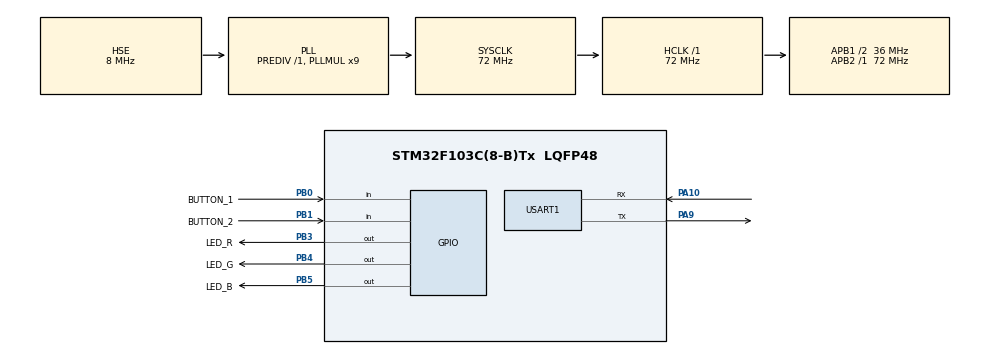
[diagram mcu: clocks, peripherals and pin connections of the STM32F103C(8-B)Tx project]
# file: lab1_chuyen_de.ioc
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Mcu.Family=STM32F1
Mcu.Name=STM32F103C(8-B)Tx
Mcu.Package=LQFP48
NVIC.PriorityGroup=NVIC_PRIORITYGROUP_4
NVIC.TIM3_IRQn=true\:0\:0\:false\:false\:true\:true\:true\:true
NVIC.TIM4_IRQn=true\:0\:0\:false\:false\:true\:true\:true\:true
NVIC.USART1_IRQn=true\:0\:0\:false\:false\:true\:true\:true\:true
PA10.Mode=Asynchronous
PA10.Signal=USART1_RX
PA13.Mode=Serial_Wire
PA13.Signal=SYS_JTMS-SWDIO
PA14.Mode=Serial_Wire
PA14.Signal=SYS_JTCK-SWCLK
PA9.Mode=Asynchronous
PA9.Signal=USART1_TX
PB0.GPIO_Label=BUTTON_1
PB0.Signal=GPIO_Input
PB1.GPIO_Label=BUTTON_2
PB1.Signal=GPIO_Input
PB3.GPIO_Label=LED_R
PB3.Signal=GPIO_Output
PB4.GPIO_Label=LED_G
PB4.Signal=GPIO_Output
PB5.GPIO_Label=LED_B
PB5.Signal=GPIO_Output
PD0-OSC_IN.Mode=HSE-External-Oscillator
PD0-OSC_IN.Signal=RCC_OSC_IN
PD1-OSC_OUT.Mode=HSE-External-Oscillator
PD1-OSC_OUT.Signal=RCC_OSC_OUT
ProjectManager.HeapSize=0x200
ProjectManager.StackSize=0x400
ProjectManager.TargetToolchain=STM32CubeIDE
RCC.AHBFreq_Value=72000000
RCC.APB1CLKDivider=RCC_HCLK_DIV2
RCC.APB1Freq_Value=36000000
RCC.APB1TimFreq_Value=72000000
RCC.APB2Freq_Value=72000000
RCC.APB2TimFreq_Value=72000000
RCC.HCLKFreq_Value=72000000
RCC.PLLMUL=RCC_PLL_MUL9
RCC.PLLSourceVirtual=RCC_PLLSOURCE_HSE
RCC.SYSCLKFreq_VALUE=72000000
RCC.SYSCLKSource=RCC_SYSCLKSOURCE_PLLCLK
RCC.USBFreq_Value=72000000
TIM3.Period=1000-1
TIM3.Prescaler=7200-1
TIM4.Period=100-1
TIM4.Prescaler=7200-1
USART1.VirtualMode=VM_ASYNC
VP_TIM3_VS_ClockSourceINT.Mode=Internal
VP_TIM4_VS_ClockSourceINT.Mode=Internal
board=custom

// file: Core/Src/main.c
/* USER CODE BEGIN Header */
/**
  ******************************************************************************
  * @file           : main.c
  * @brief          : Main program body
  ******************************************************************************
  * @attention
  *
  * Copyright (c) 2023 STMicroelectronics.
  * All rights reserved.
  *
  * This software is licensed under terms that can be found in the LICENSE file
  * in the root directory of this software component.
  * If no LICENSE file comes with this software, it is provided AS-IS.
  *
  ******************************************************************************
  */
/* USER CODE END Header */
#include "main.h"

/* USER CODE BEGIN Includes */
#include "stdio.h"
/* USER CODE END Includes */

/* USER CODE BEGIN PD */
#define DEF_TIMER_MS 10
#define TIMER_FOR_LED htim3
#define TIMER_FOR_BUTTON htim4
#define SCAN_PERIOD 10 //10ms
/* USER CODE END PD */

TIM_HandleTypeDef htim3;
TIM_HandleTypeDef htim4;

UART_HandleTypeDef huart1;

void SystemClock_Config(void);
static void MX_GPIO_Init(void);
static void MX_TIM3_Init(void);
static void MX_TIM4_Init(void);
static void MX_USART1_UART_Init(void);

/* USER CODE BEGIN 0 */
void display();
/* USER CODE END 0 */

int main(void)
{

  /* MCU Configuration--------------------------------------------------------*/

  /* Reset of all peripherals, Initializes the Flash interface and the Systick. */
  HAL_Init();

  /* Configure the system clock */
  SystemClock_Config();

  /* Initialize all configured peripherals */
  MX_GPIO_Init();
  MX_TIM3_Init();
  MX_TIM4_Init();
  MX_USART1_UART_Init();
  /* USER CODE BEGIN 2 */
  HAL_TIM_Base_Start_IT(&TIMER_FOR_LED);
  HAL_TIM_Base_Start_IT(&TIMER_FOR_BUTTON);
  display();
  /* USER CODE END 2 */

  /* Infinite loop */
  /* USER CODE BEGIN WHILE */
  //GPIO_PinState state;
  while (1)
  {

    /* USER CODE END WHILE */

  }
}

void SystemClock_Config(void)
{
  RCC_OscInitTypeDef RCC_OscInitStruct = {0};
  RCC_ClkInitTypeDef RCC_ClkInitStruct = {0};

  /** Initializes the RCC Oscillators according to the specified parameters
  * in the RCC_OscInitTypeDef structure.
  */
  RCC_OscInitStruct.OscillatorType = RCC_OSCILLATORTYPE_HSE;
  RCC_OscInitStruct.HSEState = RCC_HSE_ON;
  RCC_OscInitStruct.HSEPredivValue = RCC_HSE_PREDIV_DIV1;
  RCC_OscInitStruct.HSIState = RCC_HSI_ON;
  RCC_OscInitStruct.PLL.PLLState = RCC_PLL_ON;
  RCC_OscInitStruct.PLL.PLLSource = RCC_PLLSOURCE_HSE;
  RCC_OscInitStruct.PLL.PLLMUL = RCC_PLL_MUL9;
  if (HAL_RCC_OscConfig(&RCC_OscInitStruct) != HAL_OK)
  {
    Error_Handler();
  }

  /** Initializes the CPU, AHB and APB buses clocks
  */
  RCC_ClkInitStruct.ClockType = RCC_CLOCKTYPE_HCLK|RCC_CLOCKTYPE_SYSCLK
                              |RCC_CLOCKTYPE_PCLK1|RCC_CLOCKTYPE_PCLK2;
  RCC_ClkInitStruct.SYSCLKSource = RCC_SYSCLKSOURCE_PLLCLK;
  RCC_ClkInitStruct.AHBCLKDivider = RCC_SYSCLK_DIV1;
  RCC_ClkInitStruct.APB1CLKDivider = RCC_HCLK_DIV2;
  RCC_ClkInitStruct.APB2CLKDivider = RCC_HCLK_DIV1;

  if (HAL_RCC_ClockConfig(&RCC_ClkInitStruct, FLASH_LATENCY_2) != HAL_OK)
  {
    Error_Handler();
  }
}

static void MX_TIM3_Init(void)
{

  TIM_ClockConfigTypeDef sClockSourceConfig = {0};
  TIM_MasterConfigTypeDef sMasterConfig = {0};

  htim3.Instance = TIM3;
  htim3.Init.Prescaler = 7200-1;
  htim3.Init.CounterMode = TIM_COUNTERMODE_UP;
  htim3.Init.Period = 1000-1;
  htim3.Init.ClockDivision = TIM_CLOCKDIVISION_DIV1;
  htim3.Init.AutoReloadPreload = TIM_AUTORELOAD_PRELOAD_DISABLE;
  if (HAL_TIM_Base_Init(&htim3) != HAL_OK)
  {
    Error_Handler();
  }
  sClockSourceConfig.ClockSource = TIM_CLOCKSOURCE_INTERNAL;
  if (HAL_TIM_ConfigClockSource(&htim3, &sClockSourceConfig) != HAL_OK)
  {
    Error_Handler();
  }
  sMasterConfig.MasterOutputTrigger = TIM_TRGO_RESET;
  sMasterConfig.MasterSlaveMode = TIM_MASTERSLAVEMODE_DISABLE;
  if (HAL_TIMEx_MasterConfigSynchronization(&htim3, &sMasterConfig) != HAL_OK)
  {
    Error_Handler();
  }

}

static void MX_TIM4_Init(void)
{

  TIM_ClockConfigTypeDef sClockSourceConfig = {0};
  TIM_MasterConfigTypeDef sMasterConfig = {0};

  htim4.Instance = TIM4;
  htim4.Init.Prescaler = 7200-1;
  htim4.Init.CounterMode = TIM_COUNTERMODE_UP;
  htim4.Init.Period = 100-1;
  htim4.Init.ClockDivision = TIM_CLOCKDIVISION_DIV1;
  htim4.Init.AutoReloadPreload = TIM_AUTORELOAD_PRELOAD_DISABLE;
  if (HAL_TIM_Base_Init(&htim4) != HAL_OK)
  {
    Error_Handler();
  }
  sClockSourceConfig.ClockSource = TIM_CLOCKSOURCE_INTERNAL;
  if (HAL_TIM_ConfigClockSource(&htim4, &sClockSourceConfig) != HAL_OK)
  {
    Error_Handler();
  }
  sMasterConfig.MasterOutputTrigger = TIM_TRGO_RESET;
  sMasterConfig.MasterSlaveMode = TIM_MASTERSLAVEMODE_DISABLE;
  if (HAL_TIMEx_MasterConfigSynchronization(&htim4, &sMasterConfig) != HAL_OK)
  {
    Error_Handler();
  }

}

static void MX_USART1_UART_Init(void)
{

  huart1.Instance = USART1;
  huart1.Init.BaudRate = 115200;
  huart1.Init.WordLength = UART_WORDLENGTH_8B;
  huart1.Init.StopBits = UART_STOPBITS_1;
  huart1.Init.Parity = UART_PARITY_NONE;
  huart1.Init.Mode = UART_MODE_TX_RX;
  huart1.Init.HwFlowCtl = UART_HWCONTROL_NONE;
  huart1.Init.OverSampling = UART_OVERSAMPLING_16;
  if (HAL_UART_Init(&huart1) != HAL_OK)
  {
    Error_Handler();
  }

}

static void MX_GPIO_Init(void)
{
  GPIO_InitTypeDef GPIO_InitStruct = {0};

  /* GPIO Ports Clock Enable */
  __HAL_RCC_GPIOD_CLK_ENABLE();
  __HAL_RCC_GPIOB_CLK_ENABLE();
  __HAL_RCC_GPIOA_CLK_ENABLE();

  /*Configure GPIO pin Output Level */
  HAL_GPIO_WritePin(GPIOB, LED_R_Pin|LED_G_Pin|LED_B_Pin, GPIO_PIN_RESET);

  /*Configure GPIO pins : BUTTON_1_Pin BUTTON_2_Pin */
  GPIO_InitStruct.Pin = BUTTON_1_Pin|BUTTON_2_Pin;
  GPIO_InitStruct.Mode = GPIO_MODE_INPUT;
  GPIO_InitStruct.Pull = GPIO_NOPULL;
  HAL_GPIO_Init(GPIOB, &GPIO_InitStruct);

  /*Configure GPIO pins : LED_R_Pin LED_G_Pin LED_B_Pin */
  GPIO_InitStruct.Pin = LED_R_Pin|LED_G_Pin|LED_B_Pin;
  GPIO_InitStruct.Mode = GPIO_MODE_OUTPUT_PP;
  GPIO_InitStruct.Pull = GPIO_NOPULL;
  GPIO_InitStruct.Speed = GPIO_SPEED_FREQ_LOW;
  HAL_GPIO_Init(GPIOB, &GPIO_InitStruct);

}

/* USER CODE BEGIN 4 */

int effectPhase = 0;
int selectedtEffect = 0;

void effect1() {
	HAL_GPIO_TogglePin(LED_R_GPIO_Port, LED_R_Pin);
	HAL_GPIO_TogglePin(LED_G_GPIO_Port, LED_G_Pin);
	HAL_GPIO_TogglePin(LED_B_GPIO_Port, LED_B_Pin);
}

void effect2(int effectPhase) {
	int temp = effectPhase % 3;
	if(temp == 0)
		HAL_GPIO_TogglePin(LED_R_GPIO_Port, LED_R_Pin);
	else if(temp == 1)
		HAL_GPIO_TogglePin(LED_G_GPIO_Port, LED_G_Pin);
	else
		HAL_GPIO_TogglePin(LED_B_GPIO_Port, LED_B_Pin);
}

void effect3(int effectPhase) {
	int temp = effectPhase / 4;
	if(temp == 0)
		HAL_GPIO_TogglePin(LED_R_GPIO_Port, LED_R_Pin);
	else if(temp == 1)
		HAL_GPIO_TogglePin(LED_G_GPIO_Port, LED_G_Pin);
	else
		HAL_GPIO_TogglePin(LED_B_GPIO_Port, LED_B_Pin);
}

void turnOnAllLeds() {
	// set pin to 0 for turning the led on. check schematic.
	HAL_GPIO_WritePin(LED_R_GPIO_Port, LED_R_Pin, GPIO_PIN_RESET);
	HAL_GPIO_WritePin(LED_G_GPIO_Port, LED_G_Pin, GPIO_PIN_RESET);
	HAL_GPIO_WritePin(LED_B_GPIO_Port, LED_B_Pin, GPIO_PIN_RESET);
}

void toggleLeds() {
	// this function is called every 100ms

	// Check which effect is being used and execute it.
	if(selectedtEffect == 0)
		effect1();
	else if(selectedtEffect == 1)
		effect2(effectPhase);
	else
		effect3(effectPhase);

	// update effectPhase
	effectPhase = (effectPhase + 1) % 12; // there are 9 phase, 0 -> 8.
}

void display() {
	char buffer[15];
	int period = (TIMER_FOR_LED.Instance->ARR + 1) / DEF_TIMER_MS;
	sprintf(buffer, "\np: %d\ne: %d", period, selectedtEffect);
	HAL_UART_Transmit(&huart1, (uint8_t*)buffer, 15, 100);
}

// button 1
GPIO_PinState lastState1 = GPIO_PIN_SET;
int holdTime1 = 0;

// button 2
GPIO_PinState lastState2 = GPIO_PIN_SET;
int holdTime2 = 0;

void checkButtons() {
	// this function is called every 10ms

	// check button 1
	GPIO_PinState state = HAL_GPIO_ReadPin(BUTTON_1_GPIO_Port, BUTTON_1_Pin);
	if(state == GPIO_PIN_RESET && lastState1 == GPIO_PIN_RESET) // the button is being pressed
		holdTime1 += SCAN_PERIOD; // add 10ms to holdTime1
	else if(state == GPIO_PIN_SET && lastState1 == GPIO_PIN_RESET) { // the button was released
		HAL_TIM_Base_Stop_IT(&TIMER_FOR_LED); // stop the timer to update its period.
		int newPeriod = 0;
		if(holdTime1 < 500)
			newPeriod = TIMER_FOR_LED.Instance->ARR - 100 * DEF_TIMER_MS; // newPeriod = oldPeriod - 100ms
		else
			newPeriod = TIMER_FOR_LED.Instance->ARR - holdTime1 / 200 * 100 * DEF_TIMER_MS; // giam 100ms cho moi 200ms nut duoc nhan

		// ensure new Period is between 100 and 2000ms.
		if(newPeriod > 2000 * DEF_TIMER_MS - 1)
			newPeriod = 100 * DEF_TIMER_MS;
		else if(newPeriod < 100 * DEF_TIMER_MS - 1)
			newPeriod = 2000 * DEF_TIMER_MS - 1;

		// update period and reset counter.
		__HAL_TIM_SET_AUTORELOAD(&TIMER_FOR_LED, (uint32_t)newPeriod);
		__HAL_TIM_SET_COUNTER(&TIMER_FOR_LED, 0);

		// reset holdTime and restart the timer.
		holdTime1 = 0;
		HAL_TIM_Base_Start_IT(&TIMER_FOR_LED);
		display();
	}
	lastState1 = state;

	// check button 2
	state = HAL_GPIO_ReadPin(BUTTON_2_GPIO_Port, BUTTON_2_Pin);
	if(state == GPIO_PIN_RESET && lastState2 == GPIO_PIN_RESET) // the button is being pressed
		holdTime2 += SCAN_PERIOD; // add 10ms to holdTime2
	else if(state == GPIO_PIN_SET && lastState2 == GPIO_PIN_RESET) { // the button was released
		if(holdTime2 < 500) {
			// change effect.
			selectedtEffect = (selectedtEffect + 1) % 3; // there are 3 effect;
			turnOnAllLeds();
			effectPhase = 0;
		}
		else {
			HAL_TIM_Base_Stop_IT(&TIMER_FOR_LED); // stop the timer to update its period.
			int newPeriod = TIMER_FOR_LED.Instance->ARR + holdTime2 / 200 * 100 * DEF_TIMER_MS; // tang 100ms cho moi 200ms nut duoc nhan

			// ensure new Period is between 100 and 2000ms.
			if(newPeriod > 2000 * DEF_TIMER_MS - 1)
				newPeriod = 100 * DEF_TIMER_MS - 1;

			__HAL_TIM_SET_AUTORELOAD(&TIMER_FOR_LED, (uint32_t)newPeriod); // update period
			__HAL_TIM_SET_COUNTER(&TIMER_FOR_LED, 0); // reset counter
			HAL_TIM_Base_Start_IT(&TIMER_FOR_LED); // restart timer
		}
		display();
		holdTime2 = 0;
	}
	lastState2 = state;
}

void HAL_TIM_PeriodElapsedCallback(TIM_HandleTypeDef *htim) {
	//GPIOA->ODR = TIMER_FOR_BUTTON.Instance->ARR / (100 * DEF_TIMER_MS - 1); // only use for debugging
	if (htim == &TIMER_FOR_LED)
		toggleLeds();

	// timer4's period is 10ms
	if (htim == &TIMER_FOR_BUTTON)
		checkButtons();
}

/* USER CODE END 4 */

void Error_Handler(void)
{
  __disable_irq();
  while (1)
  {
  }
}
